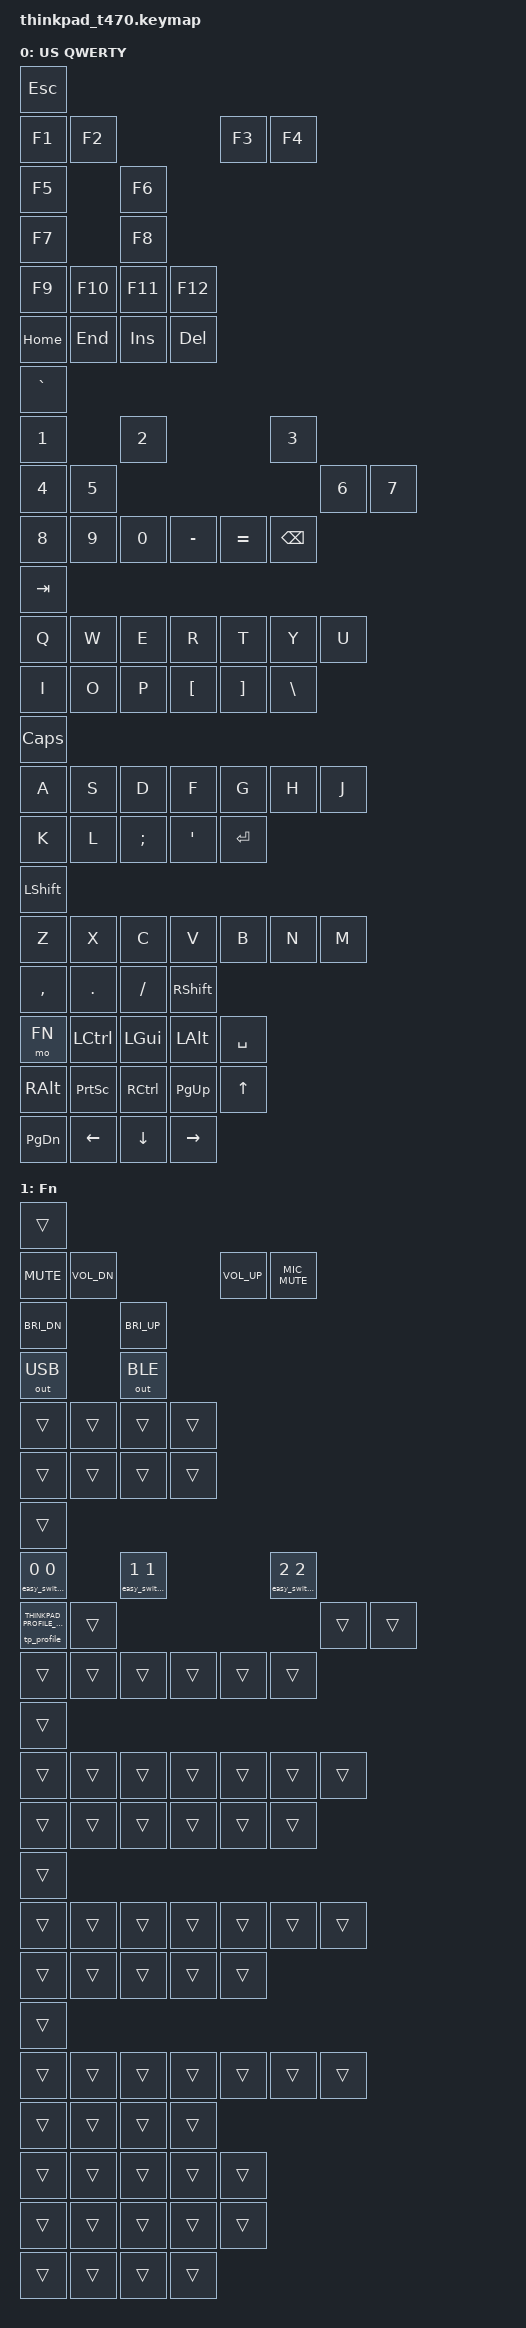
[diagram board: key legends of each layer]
#include <behaviors.dtsi>
#include <dt-bindings/zmk/bt.h>
#include <dt-bindings/zmk/hid_usage.h>
#include <dt-bindings/zmk/keys.h>
#include <dt-bindings/zmk/outputs.h>
#include "../thinkpad_common/ble_profiles.dtsi"

#define BASE 0
#define FN 1

#define C_MIC_MUTE \
    ZMK_HID_USAGE(HID_USAGE_CONSUMER, HID_USAGE_CONSUMER_START_OR_STOP_MICROPHONE_CAPTURE)

/ {
    keymap {
        compatible = "zmk,keymap";

        base_layer {
            display-name = "US QWERTY";
            bindings = <
                /* Esc, F1-F12, Home, End, Insert, Delete. */
                &kp ESC
                &kp F1 &kp F2 &kp F3 &kp F4 &kp F5 &kp F6
                &kp F7 &kp F8 &kp F9 &kp F10 &kp F11 &kp F12
                &kp HOME &kp END &kp INS &kp DEL

                /* Number row. */
                &kp GRAVE
                &kp N1 &kp N2 &kp N3 &kp N4 &kp N5 &kp N6 &kp N7
                &kp N8 &kp N9 &kp N0 &kp MINUS &kp EQUAL &kp BSPC

                /* QWERTY row. */
                &kp TAB
                &kp Q &kp W &kp E &kp R &kp T &kp Y &kp U
                &kp I &kp O &kp P &kp LBKT &kp RBKT &kp BSLH

                /* Home row. */
                &kp CAPS
                &kp A &kp S &kp D &kp F &kp G &kp H &kp J
                &kp K &kp L &kp SEMI &kp SQT &kp RET

                /* Shift row. */
                &kp LSHFT
                &kp Z &kp X &kp C &kp V &kp B &kp N &kp M
                &kp COMMA &kp DOT &kp FSLH &kp RSHFT

                /* Bottom row and navigation cluster. */
                &mo FN &kp LCTRL &kp LGUI &kp LALT &kp SPACE
                &kp RALT &kp PSCRN &kp RCTRL &kp PG_UP &kp UP
                &kp PG_DN &kp LEFT &kp DOWN &kp RIGHT
            >;
        };

        fn_layer {
            display-name = "Fn";
            bindings = <
                /* Media and explicit USB/BLE output selection on F1-F8. */
                &trans
                &kp C_MUTE &kp C_VOL_DN &kp C_VOL_UP &kp C_MIC_MUTE
                &kp C_BRI_DN &kp C_BRI_UP
                &out OUT_USB &out OUT_BLE
                &trans &trans &trans &trans
                &trans &trans &trans &trans

                &trans
                &easy_switch 0 0 &easy_switch 1 1 &easy_switch 2 2
                &tp_profile THINKPAD_PROFILE_USB 0 &trans &trans &trans
                &trans &trans &trans &trans &trans &trans

                &trans
                &trans &trans &trans &trans &trans &trans &trans
                &trans &trans &trans &trans &trans &trans

                &trans
                &trans &trans &trans &trans &trans &trans &trans
                &trans &trans &trans &trans &trans

                &trans
                &trans &trans &trans &trans &trans &trans &trans
                &trans &trans &trans &trans

                &trans &trans &trans &trans &trans
                &trans &trans &trans &trans &trans
                &trans &trans &trans &trans
            >;
        };
    };
};
